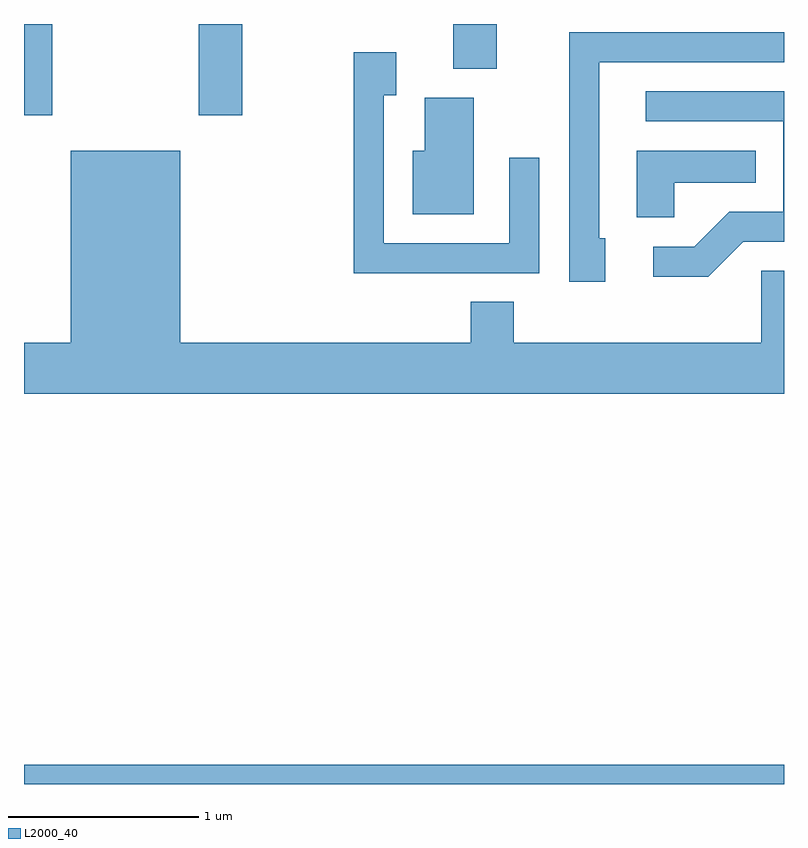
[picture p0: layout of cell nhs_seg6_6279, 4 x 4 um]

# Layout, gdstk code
import gdstk
lib = gdstk.Library(unit=1e-6, precision=1e-09)
def R(c, l, rs):  # rectangles x0, y0, x1, y1
    for r in rs: c.add(gdstk.rectangle(r[:2], r[2:], *l))
def P(c, l, *ps):  # polygons
    for p in ps: c.add(gdstk.Polygon(p, *l))
L2000_40 = (2000, 40)

nhs_seg6_6279 = lib.new_cell('nhs_seg6_6279')
R(nhs_seg6_6279, L2000_40, [(375.611,1590.162,379.611,1590.264), (375.611,1593.681,375.759,1594.162), (376.531,1593.681,376.759,1594.162), (377.871,1593.926,378.099,1594.162)])
P(nhs_seg6_6279, L2000_40, [(378.669,1593.034),(378.639,1593.034),(378.639,1593.961),(379.611,1593.961),(379.611,1594.119),(378.481,1594.119),(378.481,1592.806),(378.669,1592.806)],
  [(378.324,1593.458),(378.166,1593.458),(378.166,1593.009),(377.504,1593.009),(377.504,1593.786),(377.569,1593.786),(377.569,1594.014),(377.346,1594.014),(377.346,1592.851),(378.324,1592.851)],
  [(379.397,1593.016),(379.611,1593.016),(379.611,1593.809),(378.883,1593.809),(378.883,1593.651),(379.606,1593.651),(379.606,1593.174),(379.324,1593.174),(379.139,1592.989),(378.923,1592.989),(378.923,1592.831),(379.212,1592.831)],
  [(377.979,1593.774),(377.721,1593.774),(377.721,1593.494),(377.656,1593.494),(377.656,1593.161),(377.979,1593.161)],
  [(379.611,1592.864),(379.491,1592.864),(379.491,1592.484),(378.189,1592.484),(378.189,1592.699),(377.961,1592.699),(377.961,1592.484),(376.434,1592.484),(376.434,1593.494),(375.856,1593.494),(375.856,1592.484),(375.611,1592.484),(375.611,1592.216),(379.611,1592.216)],
  [(379.034,1593.326),(379.463,1593.326),(379.463,1593.494),(378.836,1593.494),(378.836,1593.146),(379.034,1593.146)])

lib.write_gds('nhs_seg6_6279.gds')
